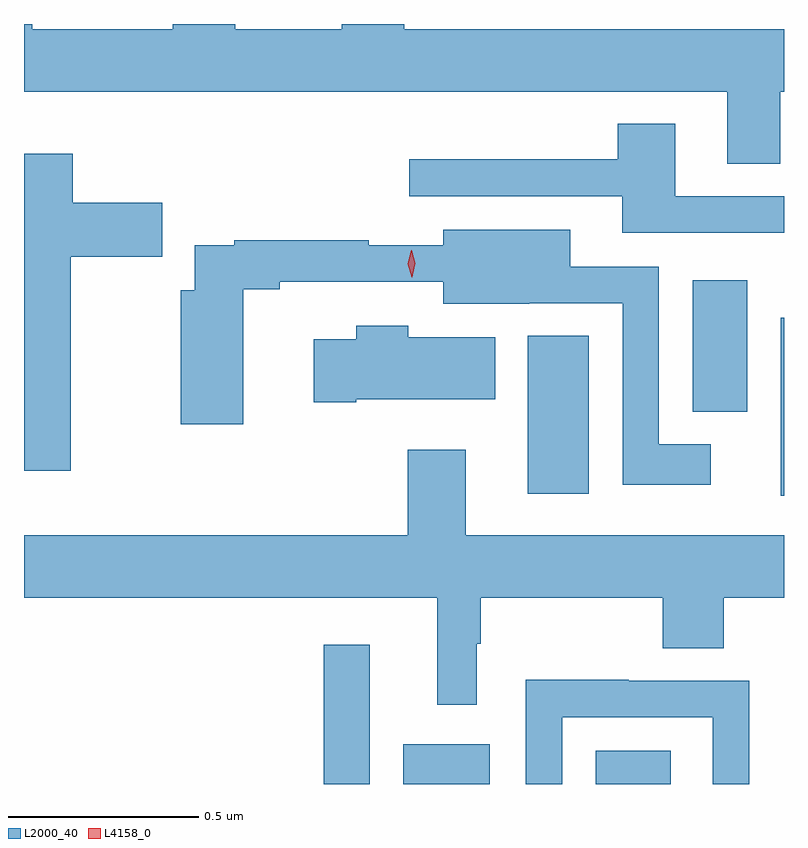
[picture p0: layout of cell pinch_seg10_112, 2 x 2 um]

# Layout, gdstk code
import gdstk
lib = gdstk.Library(unit=1e-6, precision=1e-09)
def R(c, l, rs):  # rectangles x0, y0, x1, y1
    for r in rs: c.add(gdstk.rectangle(r[:2], r[2:], *l))
def P(c, l, *ps):  # polygons
    for p in ps: c.add(gdstk.Polygon(p, *l))
L2000_40 = (2000, 40)
L4158_0 = (4158, 0)

pinch_seg10_112 = lib.new_cell('pinch_seg10_112')
R(pinch_seg10_112, L2000_40, [(672.762,1298.494,672.883,1298.86), (672.971,1298.494,673.198,1298.599), (673.478,1298.494,673.675,1298.581), (673.964,1299.252,673.973,1299.721), (673.298,1299.258,673.459,1299.673), (673.733,1299.473,673.876,1299.82)])
P(pinch_seg10_112, L2000_40, [(673.963,1300.316),(673.973,1300.316),(673.973,1300.48),(672.973,1300.48),(672.973,1300.494),(672.809,1300.494),(672.809,1300.48),(672.529,1300.48),(672.529,1300.494),(672.365,1300.494),(672.365,1300.48),(671.995,1300.48),(671.995,1300.494),(671.973,1300.494),(671.973,1300.316),(673.823,1300.316),(673.823,1300.126),(673.963,1300.126)],
  [(673.973,1300.041),(673.687,1300.041),(673.687,1300.231),(673.535,1300.231),(673.535,1300.138),(672.987,1300.138),(672.987,1300.041),(673.547,1300.041),(673.547,1299.945),(673.973,1299.945)],
  [(672.096,1299.881),(672.337,1299.881),(672.337,1300.023),(672.101,1300.023),(672.101,1300.153),(671.973,1300.153),(671.973,1299.318),(672.096,1299.318)],
  [(673.78,1299.388),(673.644,1299.388),(673.644,1299.855),(673.411,1299.855),(673.411,1299.952),(673.076,1299.952),(673.076,1299.912),(672.88,1299.912),(672.88,1299.925),(672.526,1299.925),(672.526,1299.912),(672.422,1299.912),(672.422,1299.793),(672.385,1299.793),(672.385,1299.441),(672.55,1299.441),(672.55,1299.796),(672.646,1299.796),(672.646,1299.816),(673.076,1299.816),(673.076,1299.758),(673.302,1299.758),(673.302,1299.759),(673.548,1299.759),(673.548,1299.281),(673.78,1299.281)],
  [(672.847,1299.506),(673.213,1299.506),(673.213,1299.67),(672.984,1299.67),(672.984,1299.7),(672.847,1299.7),(672.847,1299.664),(672.735,1299.664),(672.735,1299.499),(672.847,1299.499)],
  [(673.165,1298.863),(673.175,1298.863),(673.175,1298.984),(673.654,1298.984),(673.654,1298.851),(673.814,1298.851),(673.814,1298.984),(673.973,1298.984),(673.973,1299.148),(673.135,1299.148),(673.135,1299.373),(672.983,1299.373),(672.983,1299.148),(671.973,1299.148),(671.973,1298.984),(673.061,1298.984),(673.061,1298.703),(673.165,1298.703)],
  [(673.389,1298.67),(673.785,1298.67),(673.785,1298.494),(673.881,1298.494),(673.881,1298.766),(673.565,1298.766),(673.565,1298.768),(673.293,1298.768),(673.293,1298.494),(673.389,1298.494)])
P(pinch_seg10_112, L4158_0, [(672.994,1299.828),(672.994,1299.828),(672.983,1299.863),(672.992,1299.899),(672.992,1299.899),(672.993,1299.899),(673.003,1299.864),(672.995,1299.828)])

lib.write_gds('pinch_seg10_112.gds')
